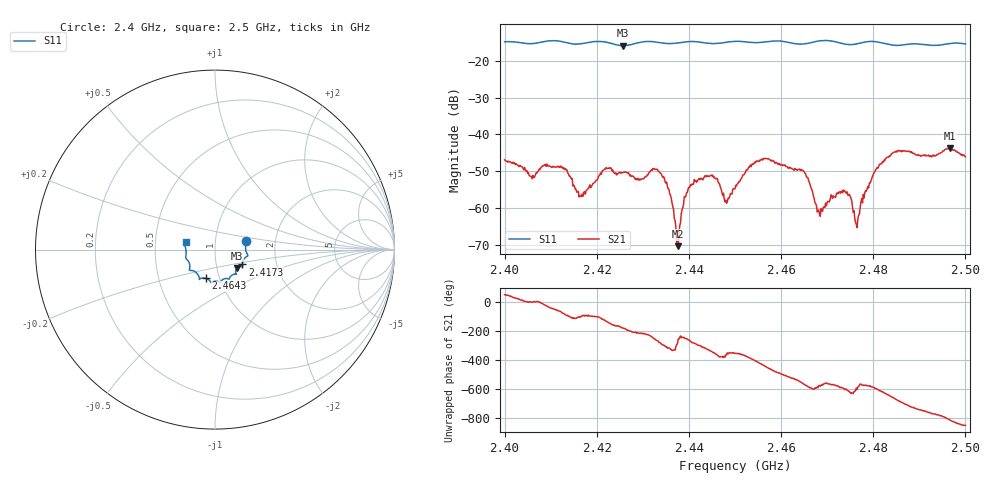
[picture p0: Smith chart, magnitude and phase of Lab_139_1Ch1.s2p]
# Hz S RI R 50
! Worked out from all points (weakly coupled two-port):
!   601 points, 2.4 GHz to 2.5 GHz, reference 50 ohm
!   highest |S21| = -43.73 dB at 2.4967 GHz (marker M1); lowest = -70.4 dB at 2.4377 GHz (marker M2)
!   lowest |S11| = -15.9 dB at 2.4257 GHz (marker M3), VSWR 1.38, Z = 62.4 - j13.1 ohm
!   |S11| at or under -10 dB: start of sweep to end of sweep
!   S12 and S22 are empty: the file has one direction only
!   S11 on the Smith chart (normalised r, x): 2.4 GHz: 1.41, +0.14; 2.4173 GHz: 1.34, -0.23; 2.4643 GHz: 0.86, -0.28; 2.5 GHz: 0.72, +0.06
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2.4e9  0.1736 0.0494  0.00269 0.00362  0 0  0 0
2.406e9  0.1705 0.000886  0.00249 5.02e-05  0 0  0 0
2.412667e9  0.1759 -0.039  0.000857 -0.00332  0 0  0 0
2.416667e9  0.1525 -0.0751  -0.000197 -0.00142  0 0  0 0
2.417333e9  0.1518 -0.0826  -0.000156 -0.00166  0 0  0 0
2.425667e9  0.1225 -0.1025  -0.00302 -0.000108  0 0  0 0
2.433333e9  0.1126 -0.1365  -3.28e-05 0.00314  0 0  0 0
2.435667e9  0.0964 -0.141  0.0013 0.00123  0 0  0 0
2.437667e9  0.0839 -0.1527  -7.55e-05 0.000293  0 0  0 0
2.440833e9  0.0785 -0.1646  0.000337 0.00205  0 0  0 0
2.445167e9  0.0539 -0.162  0.00271 0.000648  0 0  0 0
2.448167e9  0.0345 -0.1748  0.00116 -7.6e-05  0 0  0 0
2.45e9  0.0295 -0.1809  0.00179 0.000263  0 0  0 0
2.456167e9  -0.00802 -0.1783  0.00113 -0.00452  0 0  0 0
2.464333e9  -0.0502 -0.1602  -0.00326 0.000754  0 0  0 0
2.466667e9  -0.0763 -0.1595  -0.000988 0.00147  0 0  0 0
2.468333e9  -0.0861 -0.1649  -0.000655 0.000501  0 0  0 0
2.474e9  -0.0975 -0.1359  -0.000746 0.00143  0 0  0 0
2.4765e9  -0.1219 -0.1176  -0.000232 0.000488  0 0  0 0
2.483333e9  -0.1402 -0.0893  0.00109 0.00477  0 0  0 0
2.496667e9  -0.1695 0.0244  -0.00074 -0.00647  0 0  0 0
2.5e9  -0.1633 0.0416  -0.00337 -0.00362  0 0  0 0
